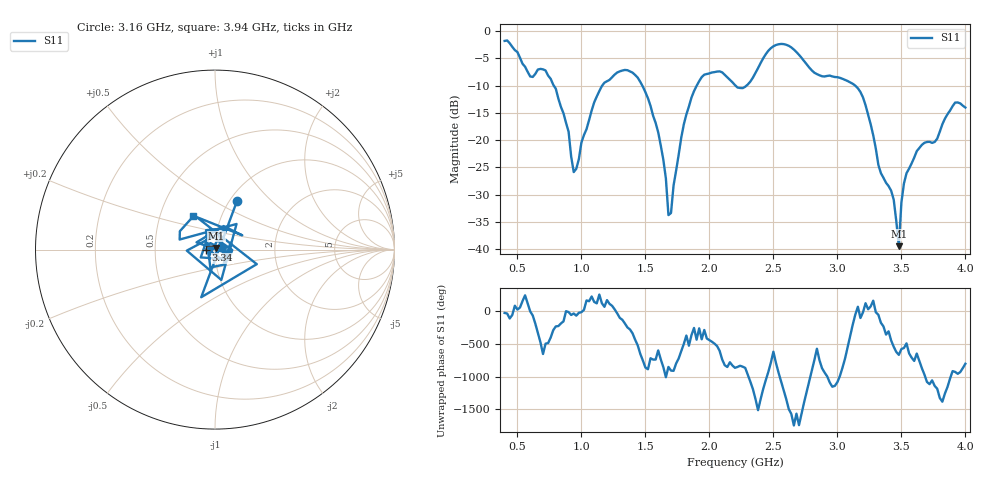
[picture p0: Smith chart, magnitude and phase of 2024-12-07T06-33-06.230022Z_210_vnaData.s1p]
!Created with skrf (http://scikit-rf.org).
# Hz S RI R 50.0
!freq ReS11 ImS11
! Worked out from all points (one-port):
!   181 points, 400 MHz to 4 GHz, reference 50 ohm
!   lowest |S11| = -39.5 dB at 3.48 GHz (marker M1), VSWR 1.02, Z = 50.6 + j0.851 ohm
!   |S11| at or under -10 dB: 784.4 MHz to 1.162 GHz (377.9 MHz wide, 38.8 % of centre); 1.476 GHz to 1.901 GHz (425.2 MHz wide, 25.2 % of centre); 3.14 GHz to end of sweep (the widest 3 of 4)
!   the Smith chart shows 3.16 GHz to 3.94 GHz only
!   S11 on the Smith chart (normalised r, x): 3.16 GHz: 1.08, +0.65; 3.34 GHz: 0.91, -0.00; 3.94 GHz: 0.74, +0.29
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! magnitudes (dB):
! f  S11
! 400 MHz  -1.8
! 600 MHz  -8.3
! 720 MHz  -7.2
! 860 MHz  -15.1
! 940 MHz  -25.9
! 1.12 GHz  -12.0
! 1.3 GHz  -7.4
! 1.52 GHz  -12.3
! 1.64 GHz  -23.6
! 1.68 GHz  -33.8
! 1.7 GHz  -33.4
! 1.76 GHz  -22.7
! 1.82 GHz  -15.3
! 1.94 GHz  -8.4
! 2.2 GHz  -9.9
! 2.3 GHz  -9.8
! 2.5 GHz  -2.8
! 2.66 GHz  -3.4
! 3.1 GHz  -9.4
! 3.16 GHz  -10.5
! 3.24 GHz  -15.3
! 3.34 GHz  -26.1
! 3.44 GHz  -30.9
! 3.48 GHz  -39.5
! 3.5 GHz  -31.5
! 3.56 GHz  -25.2
! 3.94 GHz  -13.1
! 4 GHz  -14.0
